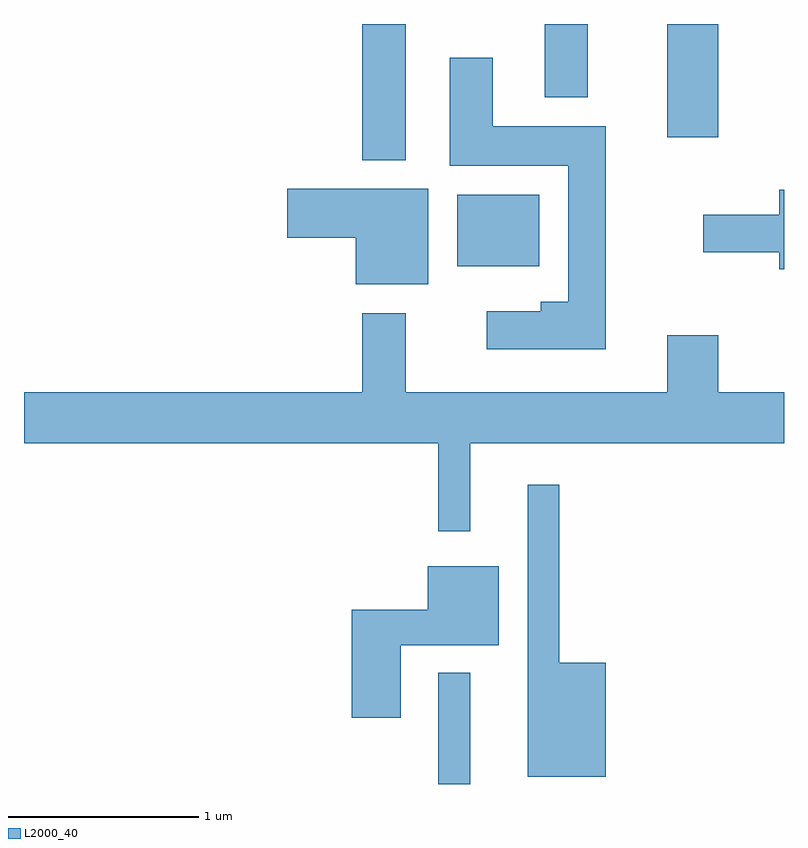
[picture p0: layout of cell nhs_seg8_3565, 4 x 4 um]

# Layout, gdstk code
import gdstk
lib = gdstk.Library(unit=1e-6, precision=1e-09)
def R(c, l, rs):  # rectangles x0, y0, x1, y1
    for r in rs: c.add(gdstk.rectangle(r[:2], r[2:], *l))
def P(c, l, *ps):  # polygons
    for p in ps: c.add(gdstk.Polygon(p, *l))
L2000_40 = (2000, 40)

nhs_seg8_3565 = lib.new_cell('nhs_seg8_3565')
R(nhs_seg8_3565, L2000_40, [(293.791,1892.342,293.959,1892.928), (293.891,1895.066,294.324,1895.444), (293.391,1895.626,293.619,1896.342), (294.996,1895.746,295.264,1896.342), (294.351,1895.956,294.579,1896.342)])
P(nhs_seg8_3565, L2000_40, [(294.674,1895.804),(294.079,1895.804),(294.079,1896.164),(293.851,1896.164),(293.851,1895.596),(294.476,1895.596),(294.476,1894.879),(294.331,1894.879),(294.331,1894.829),(294.046,1894.829),(294.046,1894.631),(294.674,1894.631)],
  [(293.739,1895.474),(292.996,1895.474),(292.996,1895.216),(293.356,1895.216),(293.356,1894.971),(293.739,1894.971)],
  [(295.611,1895.469),(295.586,1895.469),(295.586,1895.339),(295.186,1895.339),(295.186,1895.141),(295.586,1895.141),(295.586,1895.051),(295.611,1895.051)],
  [(293.959,1894.136),(295.611,1894.136),(295.611,1894.404),(295.264,1894.404),(295.264,1894.704),(294.996,1894.704),(294.996,1894.404),(293.619,1894.404),(293.619,1894.819),(293.391,1894.819),(293.391,1894.404),(291.611,1894.404),(291.611,1894.136),(293.791,1894.136),(293.791,1893.673),(293.959,1893.673)],
  [(294.674,1892.979),(294.429,1892.979),(294.429,1893.918),(294.261,1893.918),(294.261,1892.381),(294.674,1892.381)],
  [(293.594,1893.071),(294.109,1893.071),(294.109,1893.489),(293.736,1893.489),(293.736,1893.259),(293.336,1893.259),(293.336,1892.691),(293.594,1892.691)])

lib.write_gds('nhs_seg8_3565.gds')
